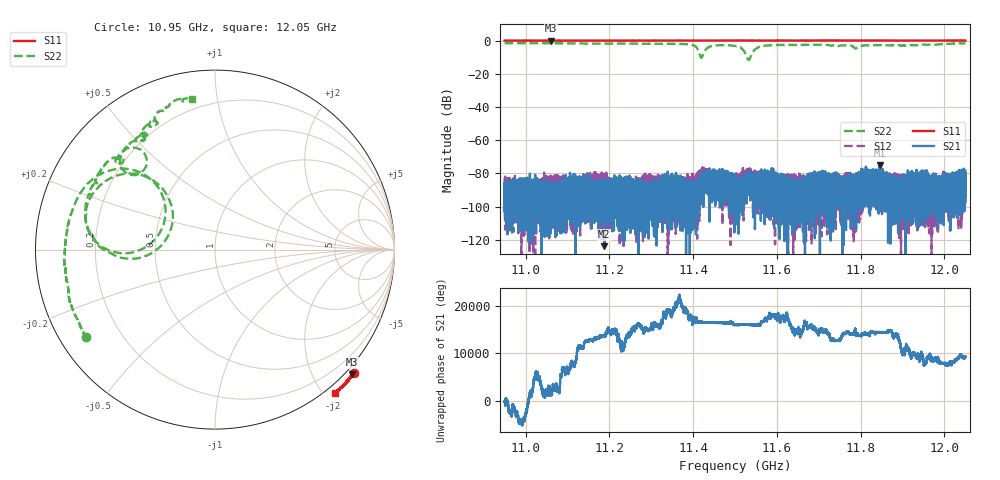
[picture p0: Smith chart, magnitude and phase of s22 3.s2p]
!Agilent Technologies,E8362C,MY49020356,A.09.42.23
!Agilent E8362C: A.09.42.23
!Date: Saturday, September 11, 2021 04:13:14
!Correction: S11(Full 2 Port(1,2))
!S21(Full 2 Port(1,2))
!S12(Full 2 Port(1,2))
!S22(Full 2 Port(1,2))
!S2P File: Measurements: S11, S21, S12, S22:
# Hz S  MA  R 50
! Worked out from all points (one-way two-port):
!   32001 points, 10.95 GHz to 12.05 GHz, reference 50 ohm
!   highest |S21| = -75.05 dB at 11.85 GHz (marker M1); lowest = -123.9 dB at 11.19 GHz (marker M2)
!   lowest |S11| = 0.3 dB at 11.06 GHz (marker M3)
!   |S11| at or under -10 dB: nowhere
!   |S22| runs from -11.4 to -1.2 dB; largest |S21 - S12| = 0.00015
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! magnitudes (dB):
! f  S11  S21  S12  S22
! 10.95 GHz  0.3  -98.3  -90.4  -1.2
! 11.06 GHz  0.3  -93.6  -82.8  -1.3
! 11.13 GHz  0.3  -85.2  -87.9  -1.4
! 11.19 GHz  0.3  -123.9  -89.0  -1.5
! 11.32 GHz  0.3  -90.9  -91.8  -1.6
! 11.4 GHz  0.3  -101.5  -89.1  -2.2
! 11.41 GHz  0.3  -97.1  -89.2  -3.5
! 11.42 GHz  0.3  -87.5  -87.6  -9.9
! 11.43 GHz  0.3  -84.0  -78.5  -4.4
! 11.44 GHz  0.3  -83.9  -89.4  -3.1
! 11.5 GHz  0.4  -87.9  -92.5  -2.9
! 11.52 GHz  0.4  -89.1  -85.9  -4.5
! 11.53 GHz  0.3  -83.9  -81.4  -11.4
! 11.55 GHz  0.3  -84.1  -89.9  -4.9
! 11.56 GHz  0.3  -85.4  -84.2  -3.3
! 11.68 GHz  0.4  -83.4  -92.1  -2.2
! 11.77 GHz  0.3  -81.5  -85.5  -2.5
! 11.79 GHz  0.3  -97.1  -87.7  -4.5
! 11.85 GHz  0.4  -75.0  -86.4  -2.4
! 11.87 GHz  0.4  -87.0  -87.2  -2.6
! 12.04 GHz  0.4  -103.6  -84.4  -1.5
! 12.05 GHz  0.4  -78.2  -92.5  -1.5
